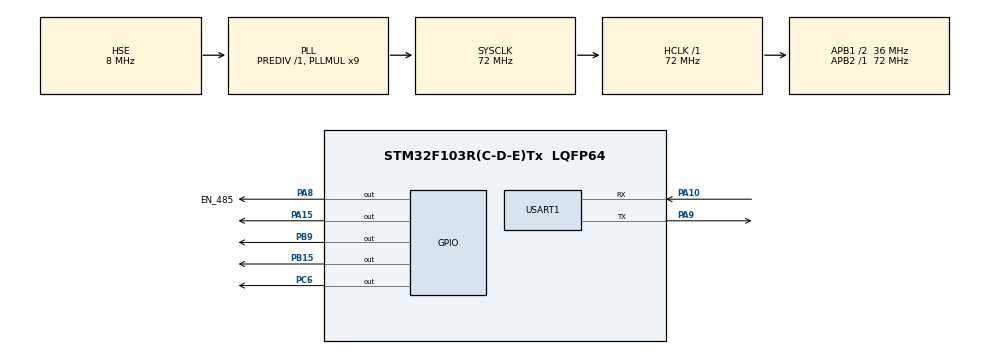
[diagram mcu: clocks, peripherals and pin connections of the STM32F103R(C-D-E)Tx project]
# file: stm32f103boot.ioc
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Mcu.Family=STM32F1
Mcu.Name=STM32F103R(C-D-E)Tx
Mcu.Package=LQFP64
NVIC.PriorityGroup=NVIC_PRIORITYGROUP_4
NVIC.USART1_IRQn=true\:0\:0\:false\:false\:true\:true\:true\:true
PA10.Mode=Asynchronous
PA10.Signal=USART1_RX
PA13.Mode=Serial_Wire
PA13.Signal=SYS_JTMS-SWDIO
PA14.Mode=Serial_Wire
PA14.Signal=SYS_JTCK-SWCLK
PA15.GPIO_PuPd=GPIO_PULLUP
PA15.GPIO_Speed=GPIO_SPEED_FREQ_HIGH
PA15.PinState=GPIO_PIN_SET
PA15.Signal=GPIO_Output
PA8.GPIO_Label=EN_485
PA8.GPIO_PuPd=GPIO_PULLUP
PA8.PinState=GPIO_PIN_SET
PA8.Signal=GPIO_Output
PA9.Mode=Asynchronous
PA9.Signal=USART1_TX
PB15.PinState=GPIO_PIN_SET
PB15.Signal=GPIO_Output
PB9.PinState=GPIO_PIN_SET
PB9.Signal=GPIO_Output
PC6.GPIO_PuPd=GPIO_PULLUP
PC6.PinState=GPIO_PIN_SET
PC6.Signal=GPIO_Output
PD0-OSC_IN.Mode=HSE-External-Oscillator
PD0-OSC_IN.Signal=RCC_OSC_IN
PD1-OSC_OUT.Mode=HSE-External-Oscillator
PD1-OSC_OUT.Signal=RCC_OSC_OUT
ProjectManager.HeapSize=0x200
ProjectManager.StackSize=0x400
ProjectManager.TargetToolchain=MDK-ARM V5.32
RCC.AHBFreq_Value=72000000
RCC.APB1CLKDivider=RCC_HCLK_DIV2
RCC.APB1Freq_Value=36000000
RCC.APB1TimFreq_Value=72000000
RCC.APB2Freq_Value=72000000
RCC.APB2TimFreq_Value=72000000
RCC.HCLKFreq_Value=72000000
RCC.PLLMUL=RCC_PLL_MUL9
RCC.PLLSourceVirtual=RCC_PLLSOURCE_HSE
RCC.SYSCLKFreq_VALUE=72000000
RCC.SYSCLKSource=RCC_SYSCLKSOURCE_PLLCLK
RCC.USBFreq_Value=72000000
USART1.VirtualMode=VM_ASYNC
board=custom

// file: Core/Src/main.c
/* USER CODE BEGIN Header */
/**
  ******************************************************************************
  * @file           : main.c
  * @brief          : Main program body
  ******************************************************************************
  * @attention
  *
  * Copyright (c) 2024 STMicroelectronics.
  * All rights reserved.
  *
  * This software is licensed under terms that can be found in the LICENSE file
  * in the root directory of this software component.
  * If no LICENSE file comes with this software, it is provided AS-IS.
  *
  ******************************************************************************
  */
/* USER CODE END Header */
#include "main.h"
#include "usart.h"
#include "gpio.h"

/* USER CODE BEGIN Includes */
#include "check_agent_engine.h"
#include "ymodem_ota.h"
#include "micro_shell.h"
#include "multiple_delay.h"
/* USER CODE END Includes */

void SystemClock_Config(void);

/* USER CODE BEGIN 0 */

__attribute__((aligned(32)))
uint8_t s_chBuffer[2048] ;
static byte_queue_t                  s_tCheckUsePeekQueue;
static fsm_check_use_peek_t          s_fsmCheckUsePeek;
static ymodem_ota_recive_t           s_tYmodemOtaReceive;
static check_agent_shell_t           s_tShellObj;
multiple_delay_t                     tDelayService;
static uint8_t s_chDelayPool[10 * sizeof(multiple_delay_item_t)];
static multiple_delay_item_t *s_ptDelayBootItem = NULL;

int reboot(void)
{
    SCB->AIRCR = 0X05FA0000 | (uint32_t)0x04;
    return 0;
}
MSH_CMD_EXPORT(reboot, reboot)

void ymodem_state_handler(ymodem_state_t state)
{
    if(state == STATE_FINSH){
		reboot();
	}
}

int64_t get_system_time_ms(void)
{
    return HAL_GetTick();
}

uint16_t shell_read_data(micro_shell_t *ptObj, char *pchBuffer, uint16_t hwSize)
{
    peek_byte_t *ptReadByte = get_read_byte_interface(&s_fsmCheckUsePeek);
    return ptReadByte->fnGetByte(ptReadByte, (uint8_t *)pchBuffer, hwSize);
}

uint16_t shell_write_data(micro_shell_t *ptObj, const char *pchBuffer, uint16_t hwSize)
{
    HAL_GPIO_WritePin(EN_485_GPIO_Port, EN_485_Pin, GPIO_PIN_SET);
	HAL_UART_Transmit(&huart1, (uint8_t *)pchBuffer, hwSize, 100);
	HAL_GPIO_WritePin(EN_485_GPIO_Port, EN_485_Pin, GPIO_PIN_RESET);
	return hwSize;
}

NOINIT
static uint32_t s_wEnterBootMagic;

bool user_enter_bootloader(void)
{
    if(s_wEnterBootMagic  != 0X55555555){
		s_wEnterBootMagic = 0X55555555;
        return true;
	}
	s_wEnterBootMagic = 0XFFFFFFFF;
    return false;
}

int boot(void)
{
    MULTIPLE_DELAY.Cancel(&tDelayService,s_ptDelayBootItem);
    return 0;
}
MSH_CMD_EXPORT(boot, enterboot)

void on_delay_event(multiple_delay_report_status_t status, void *pTag)
{
    user_magic_data_t *ptMagicData = (user_magic_data_t *)pTag;
    if (status == MULTIPLE_DELAY_TIMEOUT) {
        reboot();
    }
}

/* USER CODE END 0 */

int main(void)
{

  /* MCU Configuration--------------------------------------------------------*/

  /* Reset of all peripherals, Initializes the Flash interface and the Systick. */
  HAL_Init();

  /* USER CODE BEGIN Init */
    /* Set the Vector Table base location at 0x08000000 */

  /* USER CODE END Init */

  /* Configure the system clock */
  SystemClock_Config();

  /* Initialize all configured peripherals */
  MX_GPIO_Init();
  MX_USART1_UART_Init();
  /* USER CODE BEGIN 2 */

    queue_init(&s_tCheckUsePeekQueue, s_chBuffer, sizeof(s_chBuffer));
    init_fsm(check_use_peek, &s_fsmCheckUsePeek, args(&s_tCheckUsePeekQueue));

    ymodem_ota_receive_init(&s_tYmodemOtaReceive, get_read_byte_interface(&s_fsmCheckUsePeek));
    agent_register(&s_fsmCheckUsePeek, &s_tYmodemOtaReceive.tCheckAgent);
	connect(&s_tYmodemOtaReceive.tYmodemReceive, SIGNAL(ymodem_rec_sig), &huart1, SLOT(uart_sent_data));
    connect(&tUartMsgObj, SIGNAL(uart_sig), &s_tCheckUsePeekQueue, SLOT(enqueue_bytes));

    shell_ops_t s_tOps = {
        .fnReadData = shell_read_data,
		.fnWriteData = shell_write_data,
    };
    shell_agent_init(&s_tShellObj,&s_tOps);
	agent_register(&s_fsmCheckUsePeek, &s_tShellObj.tCheckAgent);

    multiple_delay_cfg_t cfg = {
        .pchBuffer = s_chDelayPool,
        .nSize = sizeof(s_chDelayPool),
    };
    MULTIPLE_DELAY.Init(&tDelayService, &cfg);

    s_ptDelayBootItem = MULTIPLE_DELAY.RequestDelay(
        &tDelayService,
        1000,
        MULTIPLE_DELAY_NORMAL_PRIORITY,
        &tUserMagicData,
        on_delay_event
    );
    printf("hello microboot\n");
  /* USER CODE END 2 */

  /* Infinite loop */
  while (1)
  {

    /* USER CODE BEGIN 3 */
        check_use_peek_task(&s_fsmCheckUsePeek );
	    MULTIPLE_DELAY.Task(&tDelayService);
  }
  /* USER CODE END 3 */
}

void SystemClock_Config(void)
{
  RCC_OscInitTypeDef RCC_OscInitStruct = {0};
  RCC_ClkInitTypeDef RCC_ClkInitStruct = {0};

  /** Initializes the RCC Oscillators according to the specified parameters
  * in the RCC_OscInitTypeDef structure.
  */
  RCC_OscInitStruct.OscillatorType = RCC_OSCILLATORTYPE_HSE;
  RCC_OscInitStruct.HSEState = RCC_HSE_ON;
  RCC_OscInitStruct.HSEPredivValue = RCC_HSE_PREDIV_DIV1;
  RCC_OscInitStruct.HSIState = RCC_HSI_ON;
  RCC_OscInitStruct.PLL.PLLState = RCC_PLL_ON;
  RCC_OscInitStruct.PLL.PLLSource = RCC_PLLSOURCE_HSE;
  RCC_OscInitStruct.PLL.PLLMUL = RCC_PLL_MUL9;
  if (HAL_RCC_OscConfig(&RCC_OscInitStruct) != HAL_OK)
  {
    Error_Handler();
  }

  /** Initializes the CPU, AHB and APB buses clocks
  */
  RCC_ClkInitStruct.ClockType = RCC_CLOCKTYPE_HCLK|RCC_CLOCKTYPE_SYSCLK
                              |RCC_CLOCKTYPE_PCLK1|RCC_CLOCKTYPE_PCLK2;
  RCC_ClkInitStruct.SYSCLKSource = RCC_SYSCLKSOURCE_PLLCLK;
  RCC_ClkInitStruct.AHBCLKDivider = RCC_SYSCLK_DIV1;
  RCC_ClkInitStruct.APB1CLKDivider = RCC_HCLK_DIV2;
  RCC_ClkInitStruct.APB2CLKDivider = RCC_HCLK_DIV1;

  if (HAL_RCC_ClockConfig(&RCC_ClkInitStruct, FLASH_LATENCY_2) != HAL_OK)
  {
    Error_Handler();
  }
}

void Error_Handler(void)
{
  __disable_irq();
  while (1)
  {
  }
}
